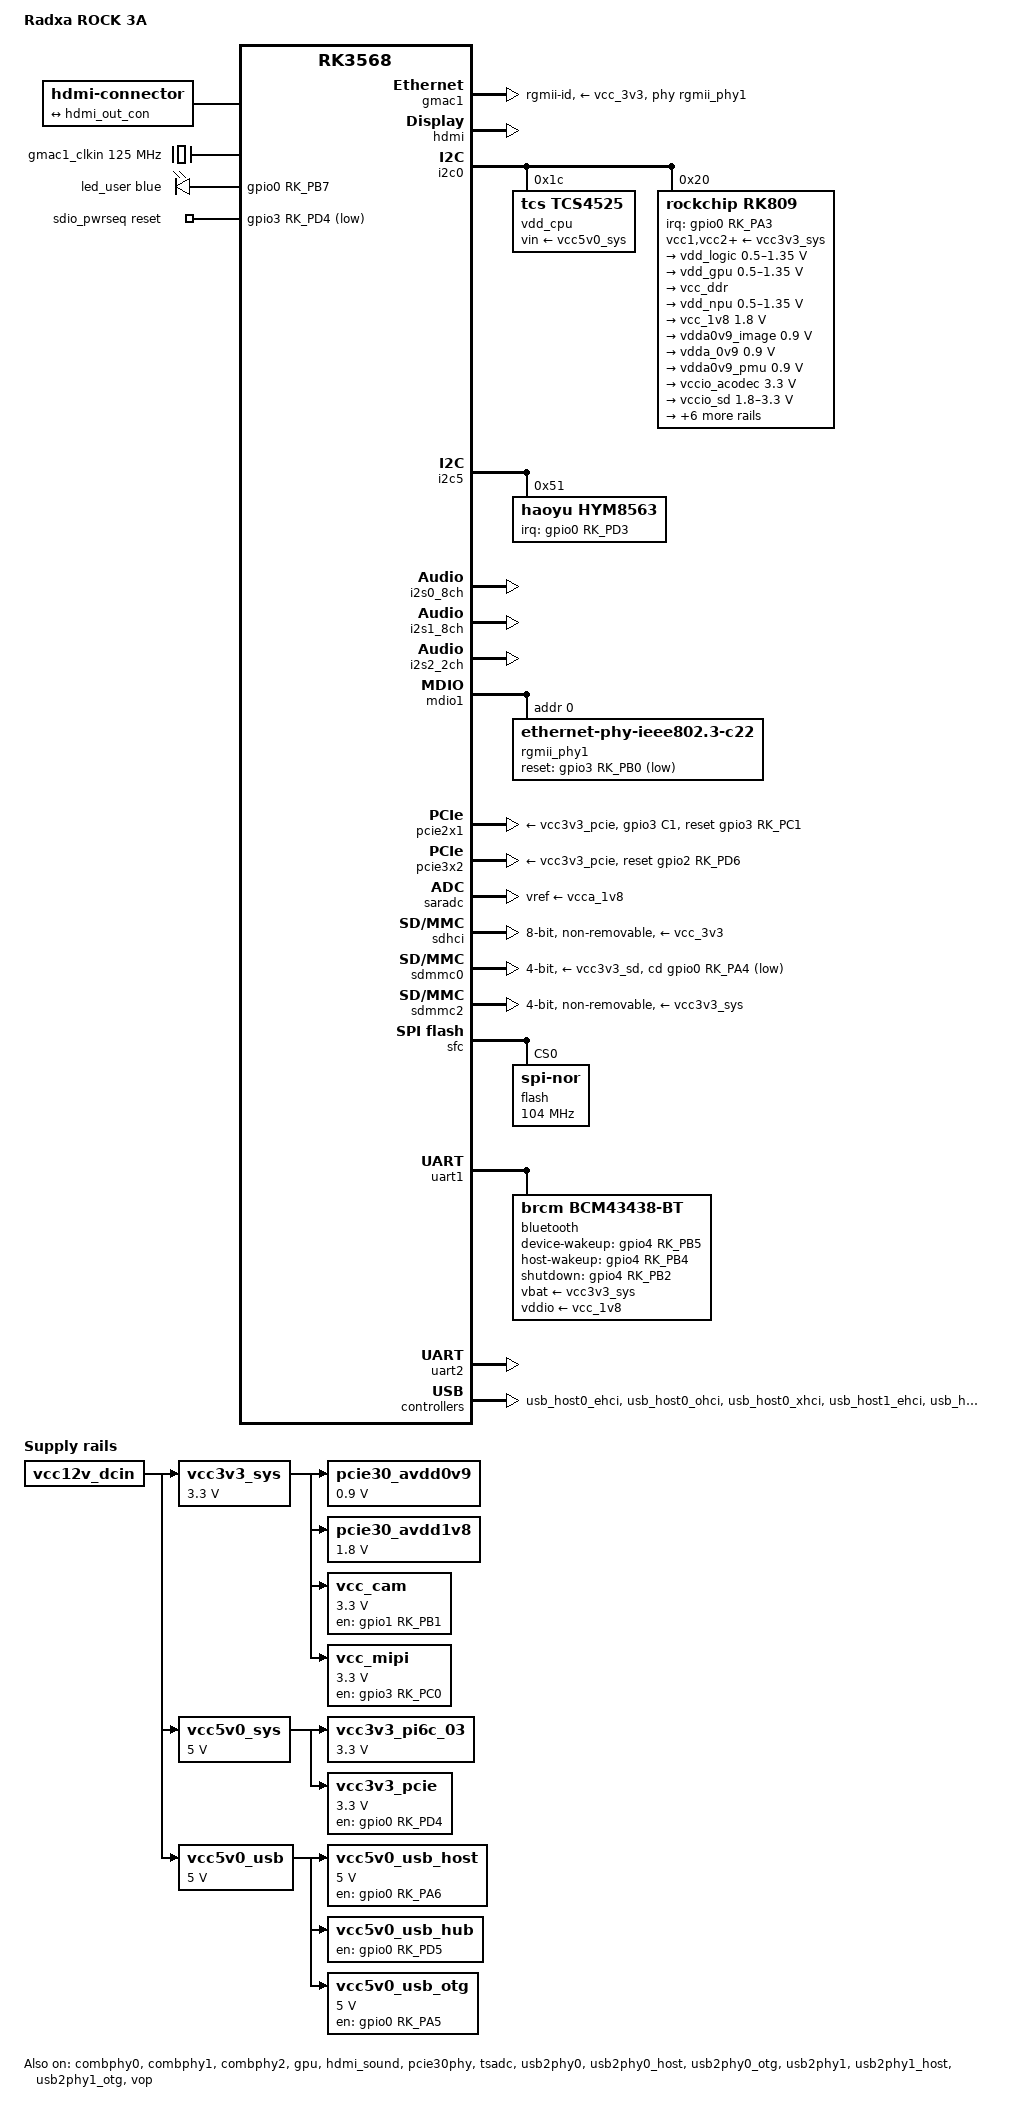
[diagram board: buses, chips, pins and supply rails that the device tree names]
// SPDX-License-Identifier: (GPL-2.0+ OR MIT)

/dts-v1/;
#include <dt-bindings/gpio/gpio.h>
#include <dt-bindings/leds/common.h>
#include <dt-bindings/pinctrl/rockchip.h>
#include <dt-bindings/soc/rockchip,vop2.h>
#include "rk3568.dtsi"

/ {
	model = "Radxa ROCK 3A";
	compatible = "radxa,rock3a", "rockchip,rk3568";

	aliases {
		ethernet0 = &gmac1;
		mmc0 = &sdhci;
		mmc1 = &sdmmc0;
		mmc2 = &sdmmc2;
	};

	chosen: chosen {
		stdout-path = "serial2:1500000n8";
	};

	hdmi-con {
		compatible = "hdmi-connector";
		type = "a";

		port {
			hdmi_con_in: endpoint {
				remote-endpoint = <&hdmi_out_con>;
			};
		};
	};

	gmac1_clkin: external-gmac1-clock {
		compatible = "fixed-clock";
		clock-frequency = <125000000>;
		clock-output-names = "gmac1_clkin";
		#clock-cells = <0>;
	};

	leds {
		compatible = "gpio-leds";

		led_user: led-0 {
			gpios = <&gpio0 RK_PB7 GPIO_ACTIVE_HIGH>;
			function = LED_FUNCTION_HEARTBEAT;
			color = <LED_COLOR_ID_BLUE>;
			linux,default-trigger = "heartbeat";
			pinctrl-names = "default";
			pinctrl-0 = <&led_user_en>;
		};
	};

	rk809-sound {
		compatible = "simple-audio-card";
		simple-audio-card,format = "i2s";
		simple-audio-card,name = "Analog RK809";
		simple-audio-card,mclk-fs = <256>;

		simple-audio-card,cpu {
			sound-dai = <&i2s1_8ch>;
		};

		simple-audio-card,codec {
			sound-dai = <&rk809>;
		};
	};

	sdio_pwrseq: sdio-pwrseq {
		compatible = "mmc-pwrseq-simple";
		clocks = <&rk809 1>;
		clock-names = "ext_clock";
		pinctrl-names = "default";
		pinctrl-0 = <&wifi_enable>;
		post-power-on-delay-ms = <100>;
		power-off-delay-us = <5000000>;
		reset-gpios = <&gpio3 RK_PD4 GPIO_ACTIVE_LOW>;
	};

	vcc12v_dcin: vcc12v-dcin-regulator {
		compatible = "regulator-fixed";
		regulator-name = "vcc12v_dcin";
		regulator-always-on;
		regulator-boot-on;
	};

	pcie30_avdd0v9: pcie30-avdd0v9-regulator {
		compatible = "regulator-fixed";
		regulator-name = "pcie30_avdd0v9";
		regulator-always-on;
		regulator-boot-on;
		regulator-min-microvolt = <900000>;
		regulator-max-microvolt = <900000>;
		vin-supply = <&vcc3v3_sys>;
	};

	pcie30_avdd1v8: pcie30-avdd1v8-regulator {
		compatible = "regulator-fixed";
		regulator-name = "pcie30_avdd1v8";
		regulator-always-on;
		regulator-boot-on;
		regulator-min-microvolt = <1800000>;
		regulator-max-microvolt = <1800000>;
		vin-supply = <&vcc3v3_sys>;
	};

	/* pi6c pcie clock generator */
	vcc3v3_pi6c_03: vcc3v3-pi6c-03-regulator {
		compatible = "regulator-fixed";
		regulator-name = "vcc3v3_pi6c_03";
		regulator-always-on;
		regulator-boot-on;
		regulator-min-microvolt = <3300000>;
		regulator-max-microvolt = <3300000>;
		vin-supply = <&vcc5v0_sys>;
	};

	vcc3v3_pcie: vcc3v3-pcie-regulator {
		compatible = "regulator-fixed";
		enable-active-high;
		gpios = <&gpio0 RK_PD4 GPIO_ACTIVE_HIGH>;
		pinctrl-names = "default";
		pinctrl-0 = <&pcie_enable_h>;
		regulator-name = "vcc3v3_pcie";
		regulator-min-microvolt = <3300000>;
		regulator-max-microvolt = <3300000>;
		vin-supply = <&vcc5v0_sys>;
	};

	vcc3v3_sys: vcc3v3-sys-regulator {
		compatible = "regulator-fixed";
		regulator-name = "vcc3v3_sys";
		regulator-always-on;
		regulator-boot-on;
		regulator-min-microvolt = <3300000>;
		regulator-max-microvolt = <3300000>;
		vin-supply = <&vcc12v_dcin>;
	};

	vcc5v0_sys: vcc5v0-sys-regulator {
		compatible = "regulator-fixed";
		regulator-name = "vcc5v0_sys";
		regulator-always-on;
		regulator-boot-on;
		regulator-min-microvolt = <5000000>;
		regulator-max-microvolt = <5000000>;
		vin-supply = <&vcc12v_dcin>;
	};

	vcc5v0_usb: vcc5v0-usb-regulator {
		compatible = "regulator-fixed";
		regulator-name = "vcc5v0_usb";
		regulator-always-on;
		regulator-boot-on;
		regulator-min-microvolt = <5000000>;
		regulator-max-microvolt = <5000000>;
		vin-supply = <&vcc12v_dcin>;
	};

	vcc5v0_usb_host: vcc5v0-usb-host-regulator {
		compatible = "regulator-fixed";
		enable-active-high;
		gpio = <&gpio0 RK_PA6 GPIO_ACTIVE_HIGH>;
		pinctrl-names = "default";
		pinctrl-0 = <&vcc5v0_usb_host_en>;
		regulator-name = "vcc5v0_usb_host";
		regulator-min-microvolt = <5000000>;
		regulator-max-microvolt = <5000000>;
		vin-supply = <&vcc5v0_usb>;
	};

	vcc5v0_usb_hub: vcc5v0-usb-hub-regulator {
		compatible = "regulator-fixed";
		enable-active-high;
		gpio = <&gpio0 RK_PD5 GPIO_ACTIVE_HIGH>;
		pinctrl-names = "default";
		pinctrl-0 = <&vcc5v0_usb_hub_en>;
		regulator-name = "vcc5v0_usb_hub";
		regulator-always-on;
		vin-supply = <&vcc5v0_usb>;
	};

	vcc5v0_usb_otg: vcc5v0-usb-otg-regulator {
		compatible = "regulator-fixed";
		enable-active-high;
		gpio = <&gpio0 RK_PA5 GPIO_ACTIVE_HIGH>;
		pinctrl-names = "default";
		pinctrl-0 = <&vcc5v0_usb_otg_en>;
		regulator-name = "vcc5v0_usb_otg";
		regulator-min-microvolt = <5000000>;
		regulator-max-microvolt = <5000000>;
		vin-supply = <&vcc5v0_usb>;
	};

	vcc_cam: vcc-cam-regulator {
		compatible = "regulator-fixed";
		enable-active-high;
		gpio = <&gpio1 RK_PB1 GPIO_ACTIVE_HIGH>;
		pinctrl-names = "default";
		pinctrl-0 = <&vcc_cam_en>;
		regulator-name = "vcc_cam";
		regulator-min-microvolt = <3300000>;
		regulator-max-microvolt = <3300000>;
		vin-supply = <&vcc3v3_sys>;

		regulator-state-mem {
			regulator-off-in-suspend;
		};
	};

	vcc_mipi: vcc-mipi-regulator {
		compatible = "regulator-fixed";
		enable-active-high;
		gpio = <&gpio3 RK_PC0 GPIO_ACTIVE_HIGH>;
		pinctrl-names = "default";
		pinctrl-0 = <&vcc_mipi_en>;
		regulator-name = "vcc_mipi";
		regulator-min-microvolt = <3300000>;
		regulator-max-microvolt = <3300000>;
		vin-supply = <&vcc3v3_sys>;

		regulator-state-mem {
			regulator-off-in-suspend;
		};
	};
};

&combphy0 {
	status = "okay";
};

&combphy1 {
	status = "okay";
};

&combphy2 {
	status = "okay";
};

&cpu0 {
	cpu-supply = <&vdd_cpu>;
};

&cpu1 {
	cpu-supply = <&vdd_cpu>;
};

&cpu2 {
	cpu-supply = <&vdd_cpu>;
};

&cpu3 {
	cpu-supply = <&vdd_cpu>;
};

&gmac1 {
	assigned-clocks = <&cru SCLK_GMAC1_RX_TX>, <&cru SCLK_GMAC1>;
	assigned-clock-parents = <&cru SCLK_GMAC1_RGMII_SPEED>, <&gmac1_clkin>;
	clock_in_out = "input";
	phy-handle = <&rgmii_phy1>;
	phy-mode = "rgmii-id";
	phy-supply = <&vcc_3v3>;
	pinctrl-names = "default";
	pinctrl-0 = <&gmac1m1_miim
		     &gmac1m1_tx_bus2
		     &gmac1m1_rx_bus2
		     &gmac1m1_rgmii_clk
		     &gmac1m1_clkinout
		     &gmac1m1_rgmii_bus>;
	status = "okay";
};

&gpu {
	mali-supply = <&vdd_gpu>;
	status = "okay";
};

&hdmi {
	avdd-0v9-supply = <&vdda0v9_image>;
	avdd-1v8-supply = <&vcca1v8_image>;
	pinctrl-names = "default";
	pinctrl-0 = <&hdmitx_scl &hdmitx_sda &hdmitxm1_cec>;
	status = "okay";
};

&hdmi_in {
	hdmi_in_vp0: endpoint {
		remote-endpoint = <&vp0_out_hdmi>;
	};
};

&hdmi_out {
	hdmi_out_con: endpoint {
		remote-endpoint = <&hdmi_con_in>;
	};
};

&hdmi_sound {
	status = "okay";
};

&i2c0 {
	status = "okay";

	vdd_cpu: regulator@1c {
		compatible = "tcs,tcs4525";
		reg = <0x1c>;
		fcs,suspend-voltage-selector = <1>;
		regulator-name = "vdd_cpu";
		regulator-always-on;
		regulator-boot-on;
		regulator-min-microvolt = <800000>;
		regulator-max-microvolt = <1150000>;
		regulator-ramp-delay = <2300>;
		vin-supply = <&vcc5v0_sys>;

		regulator-state-mem {
			regulator-off-in-suspend;
		};
	};

	rk809: pmic@20 {
		compatible = "rockchip,rk809";
		reg = <0x20>;
		interrupt-parent = <&gpio0>;
		interrupts = <RK_PA3 IRQ_TYPE_LEVEL_LOW>;
		assigned-clocks = <&cru I2S1_MCLKOUT_TX>;
		assigned-clock-parents = <&cru CLK_I2S1_8CH_TX>;
		#clock-cells = <1>;
		clock-names = "mclk";
		clocks = <&cru I2S1_MCLKOUT_TX>;
		pinctrl-names = "default";
		pinctrl-0 = <&pmic_int>, <&i2s1m0_mclk>;
		rockchip,system-power-controller;
		#sound-dai-cells = <0>;
		vcc1-supply = <&vcc3v3_sys>;
		vcc2-supply = <&vcc3v3_sys>;
		vcc3-supply = <&vcc3v3_sys>;
		vcc4-supply = <&vcc3v3_sys>;
		vcc5-supply = <&vcc3v3_sys>;
		vcc6-supply = <&vcc3v3_sys>;
		vcc7-supply = <&vcc3v3_sys>;
		vcc8-supply = <&vcc3v3_sys>;
		vcc9-supply = <&vcc3v3_sys>;
		wakeup-source;

		regulators {
			vdd_logic: DCDC_REG1 {
				regulator-name = "vdd_logic";
				regulator-always-on;
				regulator-boot-on;
				regulator-initial-mode = <0x2>;
				regulator-min-microvolt = <500000>;
				regulator-max-microvolt = <1350000>;
				regulator-ramp-delay = <6001>;

				regulator-state-mem {
					regulator-off-in-suspend;
				};
			};

			vdd_gpu: DCDC_REG2 {
				regulator-name = "vdd_gpu";
				regulator-always-on;
				regulator-initial-mode = <0x2>;
				regulator-min-microvolt = <500000>;
				regulator-max-microvolt = <1350000>;
				regulator-ramp-delay = <6001>;

				regulator-state-mem {
					regulator-off-in-suspend;
				};
			};

			vcc_ddr: DCDC_REG3 {
				regulator-name = "vcc_ddr";
				regulator-always-on;
				regulator-boot-on;
				regulator-initial-mode = <0x2>;

				regulator-state-mem {
					regulator-on-in-suspend;
				};
			};

			vdd_npu: DCDC_REG4 {
				regulator-name = "vdd_npu";
				regulator-initial-mode = <0x2>;
				regulator-min-microvolt = <500000>;
				regulator-max-microvolt = <1350000>;
				regulator-ramp-delay = <6001>;

				regulator-state-mem {
					regulator-off-in-suspend;
				};
			};

			vcc_1v8: DCDC_REG5 {
				regulator-name = "vcc_1v8";
				regulator-always-on;
				regulator-boot-on;
				regulator-min-microvolt = <1800000>;
				regulator-max-microvolt = <1800000>;

				regulator-state-mem {
					regulator-off-in-suspend;
				};
			};

			vdda0v9_image: LDO_REG1 {
				regulator-name = "vdda0v9_image";
				regulator-min-microvolt = <900000>;
				regulator-max-microvolt = <900000>;

				regulator-state-mem {
					regulator-off-in-suspend;
				};
			};

			vdda_0v9: LDO_REG2 {
				regulator-name = "vdda_0v9";
				regulator-always-on;
				regulator-boot-on;
				regulator-min-microvolt = <900000>;
				regulator-max-microvolt = <900000>;

				regulator-state-mem {
					regulator-off-in-suspend;
				};
			};

			vdda0v9_pmu: LDO_REG3 {
				regulator-name = "vdda0v9_pmu";
				regulator-always-on;
				regulator-boot-on;
				regulator-min-microvolt = <900000>;
				regulator-max-microvolt = <900000>;

				regulator-state-mem {
					regulator-on-in-suspend;
					regulator-suspend-microvolt = <900000>;
				};
			};

			vccio_acodec: LDO_REG4 {
				regulator-name = "vccio_acodec";
				regulator-always-on;
				regulator-min-microvolt = <3300000>;
				regulator-max-microvolt = <3300000>;

				regulator-state-mem {
					regulator-off-in-suspend;
				};
			};

			vccio_sd: LDO_REG5 {
				regulator-name = "vccio_sd";
				regulator-min-microvolt = <1800000>;
				regulator-max-microvolt = <3300000>;

				regulator-state-mem {
					regulator-off-in-suspend;
				};
			};

			vcc3v3_pmu: LDO_REG6 {
				regulator-name = "vcc3v3_pmu";
				regulator-always-on;
				regulator-boot-on;
				regulator-min-microvolt = <3300000>;
				regulator-max-microvolt = <3300000>;

				regulator-state-mem {
					regulator-on-in-suspend;
					regulator-suspend-microvolt = <3300000>;
				};
			};

			vcca_1v8: LDO_REG7 {
				regulator-name = "vcca_1v8";
				regulator-always-on;
				regulator-boot-on;
				regulator-min-microvolt = <1800000>;
				regulator-max-microvolt = <1800000>;

				regulator-state-mem {
					regulator-off-in-suspend;
				};
			};

			vcca1v8_pmu: LDO_REG8 {
				regulator-name = "vcca1v8_pmu";
				regulator-always-on;
				regulator-boot-on;
				regulator-min-microvolt = <1800000>;
				regulator-max-microvolt = <1800000>;

				regulator-state-mem {
					regulator-on-in-suspend;
					regulator-suspend-microvolt = <1800000>;
				};
			};

			vcca1v8_image: LDO_REG9 {
				regulator-name = "vcca1v8_image";
				regulator-min-microvolt = <1800000>;
				regulator-max-microvolt = <1800000>;

				regulator-state-mem {
					regulator-off-in-suspend;
				};
			};

			vcc_3v3: SWITCH_REG1 {
				regulator-name = "vcc_3v3";
				regulator-always-on;
				regulator-boot-on;

				regulator-state-mem {
					regulator-off-in-suspend;
				};
			};

			vcc3v3_sd: SWITCH_REG2 {
				regulator-name = "vcc3v3_sd";

				regulator-state-mem {
					regulator-off-in-suspend;
				};
			};
		};
	};
};

&i2c3 {
	pinctrl-names = "default";
	pinctrl-0 = <&i2c3m1_xfer>;
	status = "disabled";
};

&i2c4 {
	pinctrl-names = "default";
	pinctrl-0 = <&i2c4m1_xfer>;
	status = "disabled";
};

&i2c5 {
	status = "okay";

	hym8563: rtc@51 {
		compatible = "haoyu,hym8563";
		reg = <0x51>;
		interrupt-parent = <&gpio0>;
		interrupts = <RK_PD3 IRQ_TYPE_LEVEL_LOW>;
		#clock-cells = <0>;
		clock-output-names = "rtcic_32kout";
		pinctrl-names = "default";
		pinctrl-0 = <&hym8563_int>;
		wakeup-source;
	};
};

&i2s0_8ch {
	status = "okay";
};

&i2s1_8ch {
	pinctrl-names = "default";
	pinctrl-0 = <&i2s1m0_sclktx &i2s1m0_lrcktx &i2s1m0_sdi0 &i2s1m0_sdo0>;
	rockchip,trcm-sync-tx-only;
	status = "okay";
};

&i2s2_2ch {
	rockchip,trcm-sync-tx-only;
	status = "okay";
};

&mdio1 {
	rgmii_phy1: ethernet-phy@0 {
		compatible = "ethernet-phy-ieee802.3-c22";
		reg = <0x0>;
		pinctrl-names = "default";
		pinctrl-0 = <&eth_phy_rst>;
		reset-assert-us = <20000>;
		reset-deassert-us = <100000>;
		reset-gpios = <&gpio3 RK_PB0 GPIO_ACTIVE_LOW>;
	};
};

&pcie2x1 {
	pinctrl-names = "default";
	pinctrl-0 = <&pcie_reset_h>;
	reset-gpios = <&gpio3 RK_PC1 GPIO_ACTIVE_HIGH>;
	vpcie3v3-supply = <&vcc3v3_pcie>;
	status = "okay";
};

&pcie30phy {
	phy-supply = <&vcc3v3_pi6c_03>;
	status = "okay";
};

&pcie3x2 {
	pinctrl-names = "default";
	pinctrl-0 = <&pcie30x2m1_pins>;
	reset-gpios = <&gpio2 RK_PD6 GPIO_ACTIVE_HIGH>;
	vpcie3v3-supply = <&vcc3v3_pcie>;
	status = "okay";
};

&pinctrl {
	cam {
		vcc_cam_en: vcc_cam_en {
			rockchip,pins = <1 RK_PB1 RK_FUNC_GPIO &pcfg_pull_none>;
		};
	};

	display {
		vcc_mipi_en: vcc_mipi_en {
			rockchip,pins = <3 RK_PC0 RK_FUNC_GPIO &pcfg_pull_none>;
		};
	};

	ethernet {
		eth_phy_rst: eth_phy_rst {
			rockchip,pins = <3 RK_PB0 RK_FUNC_GPIO &pcfg_pull_none>;
		};
	};

	hym8563 {
		hym8563_int: hym8563-int {
			rockchip,pins = <0 RK_PD3 RK_FUNC_GPIO &pcfg_pull_up>;
		};
	};

	leds {
		led_user_en: led_user_en {
			rockchip,pins = <0 RK_PB7 RK_FUNC_GPIO &pcfg_pull_none>;
		};
	};

	pcie {
		pcie_enable_h: pcie-enable-h {
			rockchip,pins = <0 RK_PD4 RK_FUNC_GPIO &pcfg_pull_none>;
		};

		pcie_reset_h: pcie-reset-h {
			rockchip,pins = <3 RK_PC1 RK_FUNC_GPIO &pcfg_pull_none>;
		};
	};

	pmic {
		pmic_int: pmic_int {
			rockchip,pins =
				<0 RK_PA3 RK_FUNC_GPIO &pcfg_pull_up>;
		};
	};

	usb {
		vcc5v0_usb_host_en: vcc5v0_usb_host_en {
			rockchip,pins = <0 RK_PA6 RK_FUNC_GPIO &pcfg_pull_none>;
		};
		vcc5v0_usb_hub_en: vcc5v0_usb_hub_en {
			rockchip,pins = <0 RK_PD5 RK_FUNC_GPIO &pcfg_pull_none>;
		};
		vcc5v0_usb_otg_en: vcc5v0_usb_otg_en {
			rockchip,pins = <0 RK_PA5 RK_FUNC_GPIO &pcfg_pull_none>;
		};
	};

	bt {
		bt_enable: bt-enable {
			rockchip,pins = <4 RK_PB2 RK_FUNC_GPIO &pcfg_pull_none>;
		};

		bt_host_wake: bt-host-wake {
			rockchip,pins = <4 RK_PB4 RK_FUNC_GPIO &pcfg_pull_down>;
		};

		bt_wake: bt-wake {
			rockchip,pins = <4 RK_PB5 RK_FUNC_GPIO &pcfg_pull_none>;
		};
	};

	sdio-pwrseq {
		wifi_enable: wifi-enable {
			rockchip,pins = <3 RK_PD4 RK_FUNC_GPIO &pcfg_pull_none>;
		};
	};
};

&pmu_io_domains {
	pmuio1-supply = <&vcc3v3_pmu>;
	pmuio2-supply = <&vcc3v3_pmu>;
	vccio1-supply = <&vccio_acodec>;
	vccio2-supply = <&vcc_1v8>;
	vccio3-supply = <&vccio_sd>;
	vccio4-supply = <&vcc_1v8>;
	vccio5-supply = <&vcc_3v3>;
	vccio6-supply = <&vcc_1v8>;
	vccio7-supply = <&vcc_3v3>;
	status = "okay";
};

&saradc {
	vref-supply = <&vcca_1v8>;
	status = "okay";
};

&sdhci {
	bus-width = <8>;
	max-frequency = <200000000>;
	non-removable;
	pinctrl-names = "default";
	pinctrl-0 = <&emmc_bus8 &emmc_clk &emmc_cmd &emmc_datastrobe>;
	vmmc-supply = <&vcc_3v3>;
	vqmmc-supply = <&vcc_1v8>;
	status = "okay";
};

&sdmmc0 {
	bus-width = <4>;
	cap-sd-highspeed;
	cd-gpios = <&gpio0 RK_PA4 GPIO_ACTIVE_LOW>;
	disable-wp;
	pinctrl-names = "default";
	pinctrl-0 = <&sdmmc0_bus4 &sdmmc0_clk &sdmmc0_cmd &sdmmc0_det>;
	sd-uhs-sdr50;
	vmmc-supply = <&vcc3v3_sd>;
	vqmmc-supply = <&vccio_sd>;
	status = "okay";
};

&sdmmc2 {
	bus-width = <4>;
	disable-wp;
	cap-sd-highspeed;
	cap-sdio-irq;
	keep-power-in-suspend;
	mmc-pwrseq = <&sdio_pwrseq>;
	non-removable;
	pinctrl-names = "default";
	pinctrl-0 = <&sdmmc2m0_bus4 &sdmmc2m0_cmd &sdmmc2m0_clk>;
	sd-uhs-sdr12;
	sd-uhs-sdr25;
	sd-uhs-sdr50;
	sd-uhs-sdr104;
	vmmc-supply = <&vcc3v3_sys>;
	vqmmc-supply = <&vcc_1v8>;
	status = "okay";
};

&sfc {
	#address-cells = <1>;
	#size-cells = <0>;
	status = "okay";

	flash@0 {
		compatible = "jedec,spi-nor";
		reg = <0x0>;
		spi-max-frequency = <104000000>;
		spi-rx-bus-width = <4>;
		spi-tx-bus-width = <1>;
	};
};

&tsadc {
	rockchip,hw-tshut-mode = <1>;
	rockchip,hw-tshut-polarity = <0>;
	status = "okay";
};

&uart1 {
	pinctrl-names = "default";
	pinctrl-0 = <&uart1m0_xfer &uart1m0_ctsn &uart1m0_rtsn>;
	uart-has-rtscts;
	status = "okay";

	bluetooth {
		compatible = "brcm,bcm43438-bt";
		clocks = <&rk809 1>;
		clock-names = "lpo";
		device-wakeup-gpios = <&gpio4 RK_PB5 GPIO_ACTIVE_HIGH>;
		host-wakeup-gpios = <&gpio4 RK_PB4 GPIO_ACTIVE_HIGH>;
		shutdown-gpios = <&gpio4 RK_PB2 GPIO_ACTIVE_HIGH>;
		pinctrl-names = "default";
		pinctrl-0 = <&bt_host_wake &bt_wake &bt_enable>;
		vbat-supply = <&vcc3v3_sys>;
		vddio-supply = <&vcc_1v8>;
		/* vddio comes from regulator on module, use IO bank voltage instead */
	};
};

&uart2 {
	status = "okay";
};

&usb_host0_ehci {
	status = "okay";
};

&usb_host0_ohci {
	status = "okay";
};

&usb_host0_xhci {
	extcon = <&usb2phy0>;
	status = "okay";
};

&usb_host1_ehci {
	status = "okay";
};

&usb_host1_ohci {
	status = "okay";
};

&usb_host1_xhci {
	status = "okay";
};

&usb2phy0 {
	status = "okay";
};

&usb2phy0_host {
	phy-supply = <&vcc5v0_usb_host>;
	status = "okay";
};

&usb2phy0_otg {
	phy-supply = <&vcc5v0_usb_otg>;
	status = "okay";
};

&usb2phy1 {
	status = "okay";
};

&usb2phy1_host {
	phy-supply = <&vcc5v0_usb_host>;
	status = "okay";
};

&usb2phy1_otg {
	phy-supply = <&vcc5v0_usb_host>;
	status = "okay";
};

&vop {
	assigned-clocks = <&cru DCLK_VOP0>, <&cru DCLK_VOP1>;
	assigned-clock-parents = <&pmucru PLL_HPLL>, <&cru PLL_VPLL>;
	status = "okay";
};

&vop_mmu {
	status = "okay";
};

&vp0 {
	vp0_out_hdmi: endpoint@ROCKCHIP_VOP2_EP_HDMI0 {
		reg = <ROCKCHIP_VOP2_EP_HDMI0>;
		remote-endpoint = <&hdmi_in_vp0>;
	};
};
